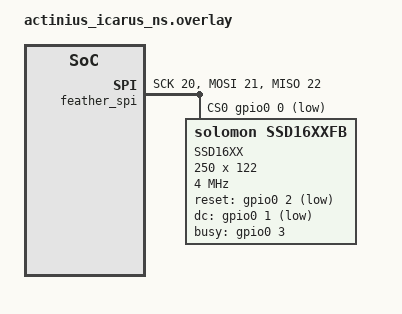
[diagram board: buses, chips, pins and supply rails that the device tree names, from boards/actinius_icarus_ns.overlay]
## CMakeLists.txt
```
# SPDX-License-Identifier: Apache-2.0
set(BOARD "actinius_icarus_ns")

cmake_minimum_required(VERSION 3.13.1)

set(PM_STATIC_YML_FILE ${CMAKE_CURRENT_SOURCE_DIR}/pm_static.yml)
list(APPEND mcuboot_OVERLAY_CONFIG "${CMAKE_CURRENT_SOURCE_DIR}/mcuboot_overlay-rsa.conf")


find_package(Zephyr)
include(${ZEPHYR_BASE}/cmake/cfb.cmake NO_POLICY_SCOPE)
project(gps)

zephyr_include_directories(include)

FILE(GLOB app_sources src/*.c)
target_sources(app PRIVATE ${app_sources})
target_include_directories(app PUBLIC include)

set(gen_dir ${ZEPHYR_BINARY_DIR}/include/generated/)
generate_cfb_font_for_target(app fonts/weather.png ${gen_dir}/cfb_font_weather.h 32 32 --first 49 --last 54)
```

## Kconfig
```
#
# Copyright (c) 2020 Nordic Semiconductor ASA
#
# SPDX-License-Identifier: LicenseRef-Nordic-5-Clause
#

menu "MQTT simple sample"
config MQTT_PUB_TOPIC
	string "MQTT publish topic"
	default "my/publish/topic"

config MQTT_SUB_TOPIC
	string "MQTT subscribe topic"
	default "my/subscribe/topic"

config MQTT_CLIENT_ID
	string "MQTT Client ID"
	help
	  Use a custom Client ID string. If not set, the client ID will be
	  generated based on IMEI number (for nRF9160 based targets) or
	  randomly (for other platforms).
	default ""

config MQTT_BROKER_HOSTNAME
	string "MQTT broker hostname"
	default "mqtt.eclipseprojects.io"

config MQTT_BROKER_PORT
	int "MQTT broker port"
	default 1883

config MQTT_MESSAGE_BUFFER_SIZE
	int "MQTT message buffer size"
	default 128

config MQTT_PAYLOAD_BUFFER_SIZE
	int "MQTT payload buffer size"
	default 128

config BUTTON_EVENT_PUBLISH_MSG
	string "The message to publish on a button event"
	default "Hello from nRF91 MQTT Simple Sample"

config BUTTON_EVENT_BTN_NUM
	int "The button number"
	default 1

config MQTT_RECONNECT_DELAY_S
	int "Seconds to delay before attempting to reconnect to the broker."
	default 60

config LTE_CONNECT_RETRY_DELAY_S
	int "Seconds to delay before attempting to retry LTE connection."
	default 120

config MQTT_TLS_SEC_TAG
	int "TLS credentials security tag"
	default 24

config MQTT_TLS_SESSION_CACHING
	bool "Enable TLS session caching"

config MQTT_TLS_PEER_VERIFY
	int "Set peer verification level"
	default 2
	help
		Set to 0 for VERIFY_NONE, 1 for VERIFY_OPTIONAL, and 2 for
		VERIFY_REQUIRED.

endmenu


menu "GPS sample"

config GPS_SAMPLE_NMEA_ONLY
	bool "Output only NMEA strings"
	help
	  Outputs only NMEA strings from the GPS.

choice GPS_SAMPLE_ANTENNA
	default GPS_SAMPLE_ANTENNA_ONBOARD
	prompt "Select which antenna to use for GPS"

config GPS_SAMPLE_ANTENNA_ONBOARD
	bool "Use onboard antenna"

config GPS_SAMPLE_ANTENNA_EXTERNAL
	bool "Use external antenna"

endchoice

endmenu


menu "Zephyr Kernel"
source "Kconfig.zephyr"
endmenu

module = MQTT_SIMPLE
module-str = MQTT Simple
source "${ZEPHYR_BASE}/subsys/logging/Kconfig.template.log_config"
```

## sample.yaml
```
sample:
  name: mqtt simple sample
tests:
  samples.nrf9160.mqtt_simple:
    build_only: true
    build_on_all: true
    platform_allow: actinius_icarus_ns
    integration_platforms:
      - actinius_icarus_ns
    tags: ci_build
```

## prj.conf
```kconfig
CONFIG_BOOTLOADER_MCUBOOT=y

# General
CONFIG_STDOUT_CONSOLE=y
CONFIG_SERIAL=y
CONFIG_GPIO=y
CONFIG_AT_CMD=y
CONFIG_ASSERT=y

# Enable logging
CONFIG_LOG=y
CONFIG_MQTT_SIMPLE_LOG_LEVEL_DBG=y
CONFIG_CFB_LOG_LEVEL_DBG=y

# Memory
CONFIG_MAIN_STACK_SIZE=4096
CONFIG_HEAP_MEM_POOL_SIZE=8192

# SPI
CONFIG_SPI=y
CONFIG_SPI_NRFX=y
CONFIG_NRFX_SPIM3=y

# Display
CONFIG_DISPLAY=y
CONFIG_SSD16XX=y
CONFIG_CHARACTER_FRAMEBUFFER=y
CONFIG_CHARACTER_FRAMEBUFFER_USE_DEFAULT_FONTS=y

# Networking
CONFIG_NETWORKING=y
CONFIG_NET_NATIVE=n
CONFIG_NET_SOCKETS_OFFLOAD=y
CONFIG_NET_SOCKETS=y
CONFIG_NET_SOCKETS_POSIX_NAMES=y
CONFIG_NET_SOCKETS_SOCKOPT_TLS=y

# LTE link control
CONFIG_LTE_LINK_CONTROL=y
CONFIG_LTE_AUTO_INIT_AND_CONNECT=n
CONFIG_LTE_NETWORK_MODE_LTE_M_GPS=y

# AT Host
CONFIG_UART_INTERRUPT_DRIVEN=y
CONFIG_AT_HOST_LIBRARY=y

# Modem library
CONFIG_NRF_MODEM_LIB=y
CONFIG_NRF_MODEM_LIB_HEAP_SIZE=4096

# Modem key management, for provisioning certificates
CONFIG_MODEM_KEY_MGMT=y

# MQTT
CONFIG_MQTT_LIB=y
CONFIG_MQTT_LIB_TLS=y
CONFIG_MQTT_CLEAN_SESSION=y
CONFIG_MQTT_MESSAGE_BUFFER_SIZE=512

# MQTT application
CONFIG_MQTT_PUB_TOPIC="/devices/icarus/events/weather/location"
CONFIG_MQTT_SUB_TOPIC="/devices/icarus/config"
CONFIG_MQTT_CLIENT_ID="projects/wearebrews/locations/europe-west1/registries/brews-iot/devices/icarus"
CONFIG_MQTT_BROKER_HOSTNAME="mqtt.2030.ltsapis.goog"
CONFIG_MQTT_BROKER_PORT=8883

# JWT
CONFIG_JWT=y
CONFIG_JWT_SIGN_ECDSA=y

# GPS application
CONFIG_GPS_SAMPLE_NMEA_ONLY=n
CONFIG_GPS_SAMPLE_ANTENNA_EXTERNAL=y

# NewLib C
CONFIG_NEWLIB_LIBC=y
CONFIG_NEWLIB_LIBC_FLOAT_PRINTF=y

# Date-time
CONFIG_DATE_TIME=y
CONFIG_DATE_TIME_UPDATE_INTERVAL_SECONDS=60
```

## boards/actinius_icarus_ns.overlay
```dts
&feather_spi {
	compatible = "nordic,nrf-spim";
	status = "okay";
	sck-pin = <20>;
	mosi-pin = <21>;
	miso-pin = <22>;
    cs-gpios = <&gpio0 0 GPIO_ACTIVE_LOW>;

    ssd16xx: ssd16xxfb@0 {
        compatible = "solomon,ssd16xxfb";
        status = "okay";
        label = "SSD16XX";
        spi-max-frequency = < 4000000 >;
        reg = < 0 >;
        height = < 122 >;
        width = < 250 >;
        pp-height-bits = < 16 >;
        pp-width-bits = < 8 >;
        reset-gpios = < &gpio0 2 GPIO_ACTIVE_LOW >;
        dc-gpios = < &gpio0 1 GPIO_ACTIVE_LOW >;
        busy-gpios = < &gpio0 3 GPIO_ACTIVE_HIGH >;
        gdv = [ 15 ];
        sdv = [ 41 a8 32 ];
        vcom = < 0x26 >;
        border-waveform = < 0x03 >;
        tssv = < 0x80 >;
    };
};
```

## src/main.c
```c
#include <zephyr.h>
#include <stdio.h>
#include <modem/lte_lc.h>

#include "gpio_button.h"
#include "gpio_led.h"
#include "gps_location.h"
#include "display_ssd16xx.h"
#include "mqtt_service.h"





void main(void) {

    /* Initialize modules */
    display_init();
    gpio_led_init();
    mqtt_service_init();
    gpio_button_init();

    /* Init LTE connection */

    int err;
    printk("LTE Link Connecting...\n");
    err = lte_lc_init();
    if (err) {
        printk("Failed to init LTE connection: %d\n", err);
        return;
    }
    printk("LTE init\n");

    err = lte_lc_func_mode_set(LTE_LC_FUNC_MODE_ACTIVATE_GNSS);
    if (err) {
        printk("Could not set func mode\n");
        return;
    }

    printk("LTE connected\n");
    
    gps_init();

    k_sleep(K_SECONDS(7));

    /* System ready to start */
    display_print_placeholder();


    mqtt_service_start();
    

    
}
```

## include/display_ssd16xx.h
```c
#ifndef DISPLAY_SSD16XX_H
#define DISPLAY_SSD16XX_H



void display_init();
void display_print_placeholder();
void display_print_weather(char *weather, char *icon_id, char *temperature, char *location);


#endif /* DISPLAY_SSD16XX_H */
```

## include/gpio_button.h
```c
#ifndef GPIO_BUTTON_H
#define GPIO_BUTTON_H



void gpio_button_init();


#endif /* GPIO_BUTTON_H */
```

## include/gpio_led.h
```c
#ifndef GPIO_LED_H
#define GPIO_LED_H



void gpio_led_init();
void gpio_led_on_off();


#endif /* GPIO_LED_H */
```

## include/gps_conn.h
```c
#ifndef GPS_CONN_H
#define GPS_CONN_H


extern struct k_msgq gps_msgq;

typedef struct {
    double latitude;
    double longitude;
} gps_msg_type;

void gps_request_coordinates();
void gps_init();



#endif /* GPS_CONN_H */
```

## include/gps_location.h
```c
#ifndef GPS_CONN_H
#define GPS_CONN_H



void gps_request_coordinates();
void gps_init();



#endif /* GPS_CONN_H */
```

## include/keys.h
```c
extern unsigned char private_der[];
extern unsigned int private_der_len;
```

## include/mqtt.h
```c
#ifndef MQTT_H
#define MQTT_H

extern struct k_msgq mqtt_msgq;

typedef struct {
    uint8_t data;
} mqtt_msg_type;

void mqtt_run();
int publish(uint8_t *data, size_t len);
void mqtt_request_weather();

#endif /* MQTT_H */
```

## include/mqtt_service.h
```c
#ifndef MQTT_H
#define MQTT_H


int mqtt_service_init();
void mqtt_service_start();
int publish_location(double latitude, double longitude);

#endif /* MQTT_H */
```

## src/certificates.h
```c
/*
 * Copyright (c) 2020 Nordic Semiconductor ASA
 *
 * SPDX-License-Identifier: LicenseRef-Nordic-5-Clause
 */

/** CA certificate for mqtt.eclipseprojects.io, Let’s Encrypt R3 */
#define CA_CERTIFICATE \
	"-----BEGIN CERTIFICATE-----\n" \
	"MIIEZTCCA02gAwIBAgIQQAF1BIMUpMghjISpDBbN3zANBgkqhkiG9w0BAQsFADA/\n" \
	"MSQwIgYDVQQKExtEaWdpdGFsIFNpZ25hdHVyZSBUcnVzdCBDby4xFzAVBgNVBAMT\n" \
	"DkRTVCBSb290IENBIFgzMB4XDTIwMTAwNzE5MjE0MFoXDTIxMDkyOTE5MjE0MFow\n" \
	"MjELMAkGA1UEBhMCVVMxFjAUBgNVBAoTDUxldCdzIEVuY3J5cHQxCzAJBgNVBAMT\n" \
	"AlIzMIIBIjANBgkqhkiG9w0BAQEFAAOCAQ8AMIIBCgKCAQEAuwIVKMz2oJTTDxLs\n" \
	"jVWSw/iC8ZmmekKIp10mqrUrucVMsa+Oa/l1yKPXD0eUFFU1V4yeqKI5GfWCPEKp\n" \
	"Tm71O8Mu243AsFzzWTjn7c9p8FoLG77AlCQlh/o3cbMT5xys4Zvv2+Q7RVJFlqnB\n" \
	"U840yFLuta7tj95gcOKlVKu2bQ6XpUA0ayvTvGbrZjR8+muLj1cpmfgwF126cm/7\n" \
	"gcWt0oZYPRfH5wm78Sv3htzB2nFd1EbjzK0lwYi8YGd1ZrPxGPeiXOZT/zqItkel\n" \
	"/xMY6pgJdz+dU/nPAeX1pnAXFK9jpP+Zs5Od3FOnBv5IhR2haa4ldbsTzFID9e1R\n" \
	"oYvbFQIDAQABo4IBaDCCAWQwEgYDVR0TAQH/BAgwBgEB/wIBADAOBgNVHQ8BAf8E\n" \
	"BAMCAYYwSwYIKwYBBQUHAQEEPzA9MDsGCCsGAQUFBzAChi9odHRwOi8vYXBwcy5p\n" \
	"ZGVudHJ1c3QuY29tL3Jvb3RzL2RzdHJvb3RjYXgzLnA3YzAfBgNVHSMEGDAWgBTE\n" \
	"p7Gkeyxx+tvhS5B1/8QVYIWJEDBUBgNVHSAETTBLMAgGBmeBDAECATA/BgsrBgEE\n" \
	"AYLfEwEBATAwMC4GCCsGAQUFBwIBFiJodHRwOi8vY3BzLnJvb3QteDEubGV0c2Vu\n" \
	"Y3J5cHQub3JnMDwGA1UdHwQ1MDMwMaAvoC2GK2h0dHA6Ly9jcmwuaWRlbnRydXN0\n" \
	"LmNvbS9EU1RST09UQ0FYM0NSTC5jcmwwHQYDVR0OBBYEFBQusxe3WFbLrlAJQOYf\n" \
	"r52LFMLGMB0GA1UdJQQWMBQGCCsGAQUFBwMBBggrBgEFBQcDAjANBgkqhkiG9w0B\n" \
	"AQsFAAOCAQEA2UzgyfWEiDcx27sT4rP8i2tiEmxYt0l+PAK3qB8oYevO4C5z70kH\n" \
	"ejWEHx2taPDY/laBL21/WKZuNTYQHHPD5b1tXgHXbnL7KqC401dk5VvCadTQsvd8\n" \
	"S8MXjohyc9z9/G2948kLjmE6Flh9dDYrVYA9x2O+hEPGOaEOa1eePynBgPayvUfL\n" \
	"qjBstzLhWVQLGAkXXmNs+5ZnPBxzDJOLxhF2JIbeQAcH5H0tZrUlo5ZYyOqA7s9p\n" \
	"O5b85o3AM/OJ+CktFBQtfvBhcJVd9wvlwPsk+uyOy2HI7mNxKKgsBTt375teA2Tw\n" \
	"UdHkhVNcsAKX1H7GNNLOEADksd86wuoXvg==\n" \
	"-----END CERTIFICATE-----\n"


#define PRIMARY_CA \
	"-----BEGIN CERTIFICATE-----\n" \
	"MIIBxTCCAWugAwIBAgINAfD3nVndblD3QnNxUDAKBggqhkjOPQQDAjBEMQswCQYD\n" \
	"VQQGEwJVUzEiMCAGA1UEChMZR29vZ2xlIFRydXN0IFNlcnZpY2VzIExMQzERMA8G\n" \
	"A1UEAxMIR1RTIExUU1IwHhcNMTgxMTAxMDAwMDQyWhcNNDIxMTAxMDAwMDQyWjBE\n" \
	"MQswCQYDVQQGEwJVUzEiMCAGA1UEChMZR29vZ2xlIFRydXN0IFNlcnZpY2VzIExM\n" \
	"QzERMA8GA1UEAxMIR1RTIExUU1IwWTATBgcqhkjOPQIBBggqhkjOPQMBBwNCAATN\n" \
	"8YyO2u+yCQoZdwAkUNv5c3dokfULfrA6QJgFV2XMuENtQZIG5HUOS6jFn8f0ySlV\n" \
	"eORCxqFyjDJyRn86d+Iko0IwQDAOBgNVHQ8BAf8EBAMCAYYwDwYDVR0TAQH/BAUw\n" \
	"AwEB/zAdBgNVHQ4EFgQUPv7/zFLrvzQ+PfNA0OQlsV+4u1IwCgYIKoZIzj0EAwID\n" \
	"SAAwRQIhAPKuf/VtBHqGw3TUwUIq7TfaExp3bH7bjCBmVXJupT9FAiBr0SmCtsuk\n" \
	"miGgpajjf/gFigGM34F9021bCWs1MbL0SA==\n" \
	"-----END CERTIFICATE-----\n"

#define BACKUP_CA \
	"-----BEGIN CERTIFICATE-----\n" \
	"MIIB4TCCAYegAwIBAgIRKjikHJYKBN5CsiilC+g0mAIwCgYIKoZIzj0EAwIwUDEk\n" \
	"MCIGA1UECxMbR2xvYmFsU2lnbiBFQ0MgUm9vdCBDQSAtIFI0MRMwEQYDVQQKEwpH\n" \
	"bG9iYWxTaWduMRMwEQYDVQQDEwpHbG9iYWxTaWduMB4XDTEyMTExMzAwMDAwMFoX\n" \
	"DTM4MDExOTAzMTQwN1owUDEkMCIGA1UECxMbR2xvYmFsU2lnbiBFQ0MgUm9vdCBD\n" \
	"QSAtIFI0MRMwEQYDVQQKEwpHbG9iYWxTaWduMRMwEQYDVQQDEwpHbG9iYWxTaWdu\n" \
	"MFkwEwYHKoZIzj0CAQYIKoZIzj0DAQcDQgAEuMZ5049sJQ6fLjkZHAOkrprlOQcJ\n" \
	"FspjsbmG+IpXwVfOQvpzofdlQv8ewQCybnMO/8ch5RikqtlxP6jUuc6MHaNCMEAw\n" \
	"DgYDVR0PAQH/BAQDAgEGMA8GA1UdEwEB/wQFMAMBAf8wHQYDVR0OBBYEFFSwe61F\n" \
	"uOJAf/sKbvu+M8k8o4TVMAoGCCqGSM49BAMCA0gAMEUCIQDckqGgE6bPA7DmxCGX\n" \
	"kPoUVy0D7O48027KqGx2vKLeuwIgJ6iFJzWbVsaj8kfSt24bAgAXqmemFZHe+pTs\n" \
	"ewv4n4Q=\n" \
	"-----END CERTIFICATE-----\n"
```

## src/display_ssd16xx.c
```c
#include <zephyr.h>
#include <device.h>
#include <drivers/display.h>
#include <display/cfb.h>
#include <stdio.h>
#include <string.h>

#include "cfb_font_weather.h"


#if DT_NODE_HAS_STATUS(DT_INST(0, solomon_ssd16xxfb), okay)
#define DISPLAY_DEV_NAME DT_LABEL(DT_INST(0, solomon_ssd16xxfb))
#endif

static const struct device *dev;


void display_init() {

    uint8_t font_width, font_height;


    dev = device_get_binding(DISPLAY_DEV_NAME);
    if (dev == NULL) {
        printk("Device %s not found\n", dev->name);
        return;
    }

    k_sleep(K_SECONDS(5));

    if (display_set_pixel_format(dev, PIXEL_FORMAT_MONO10) != 0) {
        printk("Failed to set required pixel format\n");
        return;
    }

    int err = cfb_framebuffer_init(dev);
    if (err != 0) {
        printk("CFB init error\n");
        return;
    }

    for (int i = 0; i < 42; i++) {
        if (cfb_get_font_size(dev, i, &font_width, &font_height)) {
            break;
        }
        printk("font width %d, font height %d\n", font_width, font_height);
    }

    cfb_framebuffer_clear(dev, false);

    err = cfb_framebuffer_set_font(dev, 1);
    if (err) {
        printk("Could not set font, err %d\n", err);
    }

    err = cfb_print(dev, "Booting system...", 35, 48);
    if (err) {
        printk("Could not display string, err %d\n", err);
    }

    cfb_framebuffer_finalize(dev);

    return;
}



void display_print_placeholder() {

    int err;

    cfb_framebuffer_clear(dev, false);

    err = cfb_framebuffer_set_font(dev, 2);
    if (err) {
        printk("Could not set font, err %d\n", err);
    }

    err = cfb_print(dev, "Press button", 35, 8);
    if (err) {
        printk("Could not display string, err %d\n", err);
    }

    err = cfb_framebuffer_set_font(dev, 1);
    if (err) {
        printk("Could not set font, err %d\n", err);
    }

    err = cfb_print(dev, "to get weather forecast", 10, 40);
    if (err) {
        printk("Could not display string, err %d\n", err);
    }

    err = cfb_framebuffer_set_font(dev, 0);
    if (err) {
        printk("Could not set font, err %d\n", err);
    }

    err = cfb_print(dev, "123456", 29, 72);
    if (err) {
        printk("Could not display custom font, err %d\n", err);
    }

    cfb_framebuffer_finalize(dev);

    return;
}


char* id_to_icon(char *id) {
    /* Function for converting icon ID received
       from openweathermap.org to weather icon
       supported by weather font.
    */
    char buf[3];
    memcpy(buf, id, 2);
    buf[2] = '\0';
    if (strcmp(buf, "01") == 0) {
        /* Clear sky */
        return "1";
    } else if (strcmp(buf, "02") == 0) {
        /* Few clouds */
        return "2";
    } else if (strcmp(buf, "03") == 0) {
        /* Scattered clouds */
        return "3";
    } else if (strcmp(buf, "04") == 0) {
        /* Broken clouds */
        return "3";
    } else if (strcmp(buf, "09") == 0) {
        /* Shower rain */
        return "4";
    } else if (strcmp(buf, "10") == 0) {
        /* Rain */
        return "4";
    } else if (strcmp(buf, "11") == 0) {
        /* Thunderstorm */
        return "6";
    } else if (strcmp(buf, "13") == 0) {
        /* Snow */
        return "5";
    } else {
        printk("Unsupported weather icon ID %s\n", id);
        return NULL;
    }
}


void display_print_weather(char *weather, char *icon_id, char *temperature, char *location) {

    int err;

    cfb_framebuffer_clear(dev, false);

    err = cfb_framebuffer_set_font(dev, 2);
    if (err) {
        printk("Could not set font, err %d\n", err);
    }

    err = cfb_print(dev, location, 35, 16);
    if (err) {
        printk("Could not display string, err %d\n", err);
    }

    err = cfb_framebuffer_set_font(dev, 1);
    if (err) {
        printk("Could not set font, err %d\n", err);
    }

    err = cfb_print(dev, "Temp:", 35, 48);
    if (err) {
        printk("Could not display string, err %d\n", err);
    }

    err = cfb_print(dev, temperature, 161, 48);
    if (err) {
        printk("Could not display string, err %d\n", err);
    }

    err = cfb_framebuffer_set_font(dev, 1);
    if (err) {
        printk("Could not set font, err %d\n", err);
    }

    err = cfb_print(dev, weather, 35, 72);
    if (err) {
        printk("Could not display string, err %d\n", err);
    }

    /* Convert icon id to weather icon */
    char *icon = id_to_icon(icon_id);
    if (icon) {
        err = cfb_framebuffer_set_font(dev, 0);
        if (err) {
            printk("Could not set font, err %d\n", err);
        }

        err = cfb_print(dev, icon, 170, 64);
        if (err) {
            printk("Could not display string, err %d\n", err);
        }
    }

    cfb_framebuffer_finalize(dev);

    return;
}
```

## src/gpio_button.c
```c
/*
 * Copyright (c) 2016 Open-RnD Sp. z o.o.
 * Copyright (c) 2020 Nordic Semiconductor ASA
 *
 * SPDX-License-Identifier: Apache-2.0
 */

#include <zephyr.h>
#include <device.h>
#include <drivers/gpio.h>

#include "gpio_button.h"
#include "gpio_led.h"
#include "gps_location.h"
#include "display_ssd16xx.h"



/*
 * Get button configuration from the devicetree sw0 alias. This is mandatory.
 */
#define SW0_NODE DT_ALIAS(sw0)
#if !DT_NODE_HAS_STATUS(SW0_NODE, okay)
#error "Unsupported board: sw0 devicetree alias is not defined"
#endif
static const struct gpio_dt_spec button = GPIO_DT_SPEC_GET_OR(SW0_NODE, gpios, {0});
static struct gpio_callback button_cb_data;

void gpio_work_handler(struct k_work *work) {
    printk("Button pressed! :)\n");
    gpio_led_on_off(0);
    gps_request_coordinates();
}

K_WORK_DELAYABLE_DEFINE(gpio_work, gpio_work_handler);

void button_pressed(const struct device *dev, struct gpio_callback *cb, uint32_t pins) {
    k_work_schedule(&gpio_work, K_MSEC(300));
}


void gpio_button_init(void) {
    int ret;

    if(!device_is_ready(button.port)) {
        printk("Error: button device %s is not ready\n", button.port->name);
        return;
    }

    ret = gpio_pin_configure_dt(&button, GPIO_INPUT);
    if (ret != 0) {
        printk("Error %d: failed to configure %s pin %d\n", ret, button.port->name, button.pin);
        return;
    }

    ret = gpio_pin_interrupt_configure_dt(&button, GPIO_INT_EDGE_TO_ACTIVE);
    if (ret != 0) {
        printk("Error %d: failed to configure interrupt on %s pin %d\n", ret, button.port->name, button.pin);
        return;
    }

    gpio_init_callback(&button_cb_data, button_pressed, BIT(button.pin));
    gpio_add_callback(button.port, &button_cb_data);
    printk("Set up button at %s pin %d\n", button.port->name, button.pin);


}
```

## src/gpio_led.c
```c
/*
 * Copyright (c) 2016 Intel Corporation
 *
 * SPDX-License-Identifier: Apache-2.0
 */

#include <zephyr.h>
#include <device.h>
#include <drivers/gpio.h>

/* The devicetree node identifier for the "led2" alias (blue LED). */
#define LED2_NODE DT_ALIAS(led2)

#if DT_NODE_HAS_STATUS(LED2_NODE, okay)
#define LED2	DT_GPIO_LABEL(LED2_NODE, gpios)
#define PIN	DT_GPIO_PIN(LED2_NODE, gpios)
#define FLAGS	DT_GPIO_FLAGS(LED2_NODE, gpios)
#else
/* A build error here means your board isn't set up to blink an LED. */
#error "Unsupported board: led0 devicetree alias is not defined"
#define LED2	""
#define PIN	0
#define FLAGS	0
#endif


static const struct device *dev;

void gpio_led_init()
{
	int ret;

	dev = device_get_binding(LED2);
	if (dev == NULL) {
		return;
	}

	ret = gpio_pin_configure(dev, PIN, GPIO_OUTPUT_ACTIVE | FLAGS);
	if (ret < 0) {
		return;
	}

    return;
}


void gpio_led_on_off(int on) {
    gpio_pin_set(dev, PIN, on);
}
```
